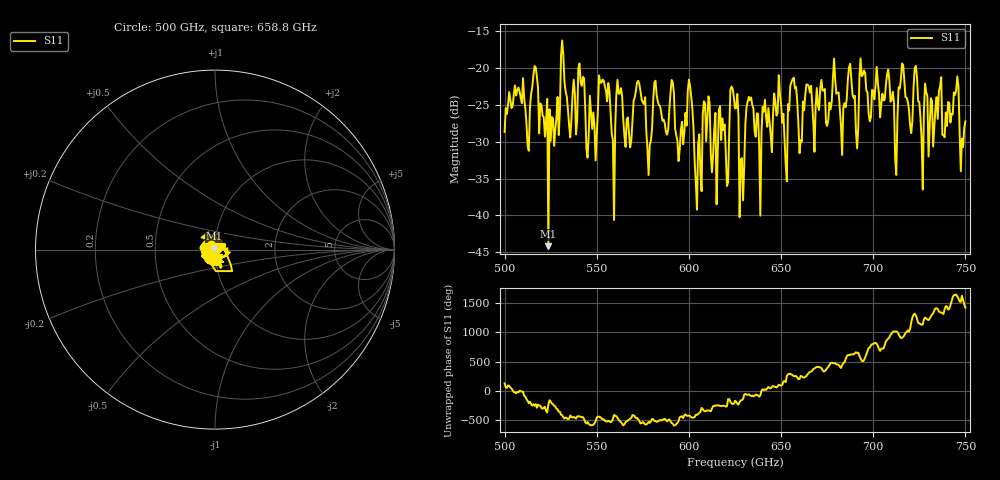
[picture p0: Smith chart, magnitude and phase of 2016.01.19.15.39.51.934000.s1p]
!Created with skrf (http://scikit-rf.org).
# GHz S RI R 50.0
!freq ReS11 ImS11
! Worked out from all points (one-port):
!   401 points, 500 GHz to 750 GHz, reference 50 ohm
!   lowest |S11| = -44.2 dB at 523.8 GHz (marker M1), VSWR 1.01, Z = 49.6 + j0.454 ohm
!   |S11| at or under -10 dB: start of sweep to end of sweep
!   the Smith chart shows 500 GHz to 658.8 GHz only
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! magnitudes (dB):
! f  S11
! 500 GHz  -28.7
! 516.9 GHz  -19.9
! 523.8 GHz  -44.2
! 531.2 GHz  -16.3
! 548.8 GHz  -27.9
! 552.5 GHz  -22.0
! 558.8 GHz  -29.8
! 562.5 GHz  -23.5
! 566.9 GHz  -26.7
! 573.1 GHz  -22.2
! 578.1 GHz  -34.5
! 590.6 GHz  -21.6
! 593.8 GHz  -29.8
! 600.6 GHz  -22.5
! 603.8 GHz  -35.6
! 609.4 GHz  -29.9
! 620.6 GHz  -36.0
! 625 GHz  -25.5
! 628.8 GHz  -32.2
! 632.5 GHz  -23.9
! 651.9 GHz  -29.5
! 656.2 GHz  -21.6
! 660.6 GHz  -29.8
! 687.5 GHz  -19.5
! 690.6 GHz  -28.7
! 694.4 GHz  -20.9
! 718.8 GHz  -24.6
! 750 GHz  -27.3
